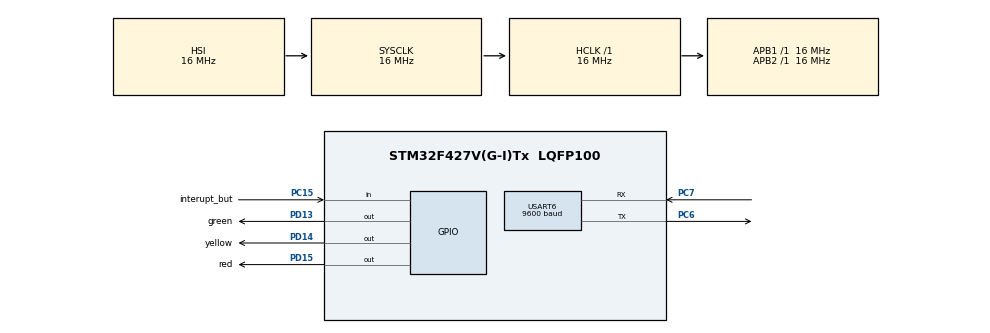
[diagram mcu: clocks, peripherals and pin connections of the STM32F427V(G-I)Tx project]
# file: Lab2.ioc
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Mcu.Family=STM32F4
Mcu.Name=STM32F427V(G-I)Tx
Mcu.Package=LQFP100
NVIC.PriorityGroup=NVIC_PRIORITYGROUP_4
NVIC.USART6_IRQn=true\:0\:0\:false\:false\:true\:true\:true\:true
PA13.Mode=JTAG_5_pins
PA13.Signal=SYS_JTMS-SWDIO
PA14.Mode=JTAG_5_pins
PA14.Signal=SYS_JTCK-SWCLK
PA15.Mode=JTAG_5_pins
PA15.Signal=SYS_JTDI
PB3.Mode=JTAG_5_pins
PB3.Signal=SYS_JTDO-SWO
PB4.Mode=JTAG_5_pins
PB4.Signal=SYS_JTRST
PC15/OSC32_OUT.GPIO_Label=interupt_but
PC15/OSC32_OUT.Signal=GPIO_Input
PC6.Mode=Asynchronous
PC6.Signal=USART6_TX
PC7.Mode=Asynchronous
PC7.Signal=USART6_RX
PD13.GPIO_Label=green
PD13.Signal=GPIO_Output
PD14.GPIO_Label=yellow
PD14.Signal=GPIO_Output
PD15.GPIO_Label=red
PD15.Signal=GPIO_Output
ProjectManager.HeapSize=0x200
ProjectManager.StackSize=0x400
ProjectManager.TargetToolchain=STM32CubeIDE
RCC.AHBFreq_Value=16000000
RCC.APB1Freq_Value=16000000
RCC.APB2Freq_Value=16000000
RCC.CortexFreq_Value=16000000
RCC.HSE_VALUE=25000000
RCC.HSI_VALUE=16000000
RCC.LSE_VALUE=32768
RCC.SYSCLKFreq_VALUE=16000000
RCC.VCOOutputFreq_Value=192000000
USART6.BaudRate=9600
USART6.VirtualMode=VM_ASYNC
board=custom

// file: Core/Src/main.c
/* USER CODE BEGIN Header */
/**
  ******************************************************************************
  * @file           : main.c
  * @brief          : Main program body - Кодовый замок через UART
  ******************************************************************************
  */
/* USER CODE END Header */
#include "main.h"
#include "usart.h"
#include "gpio.h"

/* USER CODE BEGIN Includes */
#include <string.h>
#include <ctype.h>
/* USER CODE END Includes */

/* USER CODE BEGIN PD */
#define CODE_LENGTH 8
#define MAX_ATTEMPTS 3
#define TIMEOUT_MS 10000
#define GREEN_LED_TIME 3000
#define RED_BLINK_TIME 5000
/* USER CODE END PD */

/* USER CODE BEGIN PV */
char current_code[CODE_LENGTH + 1] = "12345678";
char input_buffer[CODE_LENGTH + 1] = {0};
char new_code_buffer[CODE_LENGTH + 1] = {0};
uint8_t input_pos = 0;
uint8_t failed_attempts = 0;
uint32_t last_input_time = 0;
uint8_t setting_new_code = 0;
uint8_t new_code_pos = 0;
uint8_t use_interrupts = 0;
uint8_t rx_byte = 0;

volatile uint8_t char_received = 0;
volatile char received_char = 0;
/* USER CODE END PV */

void SystemClock_Config(void);
/* USER CODE BEGIN PFP */
void turn_on_green_led(void);
void turn_on_yellow_led(void);
void turn_on_red_led(void);
void turn_off_green_led(void);
void turn_off_yellow_led(void);
void turn_off_red_led(void);
void turn_off_all_leds(void);
void blink_led(GPIO_TypeDef* port, uint16_t pin, uint16_t duration);
void send_string(const char* str);
void reset_input(void);
void check_timeout(void);
void process_char(char c);
void lock_system(void);
void unlock_system(void);

/* Новая вспомогательная функция */
static void wait_ms(uint32_t ms);
/* USER CODE END PFP */

/* USER CODE BEGIN 0 */

static void wait_ms(uint32_t ms) {
    uint32_t start = HAL_GetTick();
    while ((HAL_GetTick() - start) < ms) {
        /* Ничего не делаем здесь намеренно - позволяем прерываниям срабатывать.
           __NOP() минимально загружает ЦПУ и полезна для отладки. */
        __NOP();
    }
}

void turn_on_green_led(void) {
    HAL_GPIO_WritePin(GPIOD, GPIO_PIN_13, GPIO_PIN_SET);
}

void turn_on_yellow_led(void) {
    HAL_GPIO_WritePin(GPIOD, GPIO_PIN_14, GPIO_PIN_SET);
}

void turn_on_red_led(void) {
    HAL_GPIO_WritePin(GPIOD, GPIO_PIN_15, GPIO_PIN_SET);
}

void turn_off_green_led(void) {
    HAL_GPIO_WritePin(GPIOD, GPIO_PIN_13, GPIO_PIN_RESET);
}

void turn_off_yellow_led(void) {
    HAL_GPIO_WritePin(GPIOD, GPIO_PIN_14, GPIO_PIN_RESET);
}

void turn_off_red_led(void) {
    HAL_GPIO_WritePin(GPIOD, GPIO_PIN_15, GPIO_PIN_RESET);
}

void turn_off_all_leds(void) {
    turn_off_green_led();
    turn_off_yellow_led();
    turn_off_red_led();
}

void blink_led(GPIO_TypeDef* port, uint16_t pin, uint16_t duration) {
    HAL_GPIO_WritePin(port, pin, GPIO_PIN_SET);
    wait_ms(duration);
    HAL_GPIO_WritePin(port, pin, GPIO_PIN_RESET);
}

void send_string(const char* str) {
    HAL_UART_Transmit(&huart6, (uint8_t*)str, strlen(str), 1000);
}

void reset_input(void) {
    input_pos = 0;
    memset(input_buffer, 0, sizeof(input_buffer));
    last_input_time = HAL_GetTick();
}

void check_timeout(void) {
    if (input_pos > 0 && (HAL_GetTick() - last_input_time > TIMEOUT_MS)) {
        send_string("Timeout! Code reset.\r\n");
        blink_led(GPIOD, GPIO_PIN_14, 1000);
        reset_input();
    }
}

void lock_system(void) {
    send_string("!!! LOCKED !!! Too many attempts.\r\n");
    uint32_t start = HAL_GetTick();
    while ((HAL_GetTick() - start) < RED_BLINK_TIME) {
        turn_on_red_led();
        wait_ms(250);
        turn_off_red_led();
        wait_ms(250);
    }
    failed_attempts = 0;
    reset_input();
    send_string("System ready. Enter code:\r\n");
}

void unlock_system(void) {
    send_string("\r\n*** UNLOCKED! ***\r\n");
    turn_on_green_led();
    wait_ms(GREEN_LED_TIME);
    turn_off_green_led();
    failed_attempts = 0;
    reset_input();
    send_string("System ready. Enter code:\r\n");
}

void process_char(char c) {
    if (setting_new_code == 1) {
        if (c == '\r' || c == '\n') {
            if (new_code_pos >= CODE_LENGTH) {
                send_string("\r\nNew code entered. Make it active? (y/n): ");
                setting_new_code = 2;
            } else {
                send_string("\r\nCode too short! Need 8 characters.\r\n");
                setting_new_code = 0;
                new_code_pos = 0;
                memset(new_code_buffer, 0, sizeof(new_code_buffer));
            }
            return;
        }

        if (isalnum((unsigned char)c) && new_code_pos < CODE_LENGTH) {
            new_code_buffer[new_code_pos++] = tolower((unsigned char)c);
            HAL_UART_Transmit(&huart6, (uint8_t*)"*", 1, 100);

            if (new_code_pos >= CODE_LENGTH) {
                send_string("\r\nNew code entered. Make it active? (y/n): ");
                setting_new_code = 2;
            }
        }
        return;
    }

    if (setting_new_code == 2) {
        if (c == 'y' || c == 'Y') {
            strcpy(current_code, new_code_buffer);
            send_string("\r\nNew code activated!\r\n");
            blink_led(GPIOD, GPIO_PIN_13, 500);
        } else {
            send_string("\r\nNew code cancelled.\r\n");
        }
        setting_new_code = 0;
        new_code_pos = 0;
        memset(new_code_buffer, 0, sizeof(new_code_buffer));
        reset_input();
        send_string("System ready. Enter code:\r\n");
        return;
    }

    if (c == '+') {
        send_string("\r\nEnter new code (8 chars): ");
        setting_new_code = 1;
        new_code_pos = 0;
        memset(new_code_buffer, 0, sizeof(new_code_buffer));
        return;
    }

    if (isalnum((unsigned char)c)) {
        c = tolower((unsigned char)c);
        input_buffer[input_pos] = c;
        last_input_time = HAL_GetTick();

        if (input_buffer[input_pos] == current_code[input_pos]) {
            blink_led(GPIOD, GPIO_PIN_14, 100);
            HAL_UART_Transmit(&huart6, (uint8_t*)&c, 1, 100);
            input_pos++;
            if (input_pos >= CODE_LENGTH) {
                unlock_system();
            }
        } else {
            send_string("\r\nWrong character!\r\n");
            blink_led(GPIOD, GPIO_PIN_15, 200);
            failed_attempts++;
            reset_input();

            if (failed_attempts >= MAX_ATTEMPTS) {
                lock_system();
            } else {
                send_string("Try again. Enter code:\r\n");
            }
        }
    }
}

void HAL_UART_RxCpltCallback(UART_HandleTypeDef *huart) {
    if (huart->Instance == USART6) {

        received_char = (char)rx_byte;
        char_received = 1;

        HAL_UART_Receive_IT(&huart6, &rx_byte, 1);
    }
}

/* USER CODE END 0 */

int main(void)
{
  /* USER CODE BEGIN 1 */
  uint8_t button_pressed = 0;
  /* USER CODE END 1 */

  /* MCU Configuration--------------------------------------------------------*/

  /* Reset of all peripherals, Initializes the Flash interface and the Systick. */
  HAL_Init();

  /* Configure the system clock */
  SystemClock_Config();

  /* Initialize all configured peripherals */
  MX_GPIO_Init();
  MX_USART6_UART_Init();
  /* USER CODE BEGIN 2 */

  turn_off_all_leds();

  HAL_NVIC_SetPriority(USART6_IRQn, 0, 0);
  HAL_NVIC_EnableIRQ(USART6_IRQn);

  send_string("\r\n");
  send_string("========================================\r\n");
  send_string("    CODE LOCK SYSTEM v2.0 (UART)\r\n");
  send_string("========================================\r\n");
  send_string("Mode: POLLING (press button to toggle)\r\n");
  send_string("System ready. Enter code:\r\n");

  reset_input();

  /* USER CODE END 2 */

  /* Infinite loop */
  while (1)
  {

    /* USER CODE BEGIN 3 */
      if (HAL_GPIO_ReadPin(GPIOC, GPIO_PIN_15) == GPIO_PIN_RESET && !button_pressed) {
          wait_ms(50);
          if (HAL_GPIO_ReadPin(GPIOC, GPIO_PIN_15) == GPIO_PIN_RESET) {
              button_pressed = 1;
              use_interrupts = !use_interrupts;

              if (use_interrupts) {
                  send_string("\r\n>>> Mode: INTERRUPTS <<<\r\n");
                  HAL_UART_Receive_IT(&huart6, &rx_byte, 1);
              } else {
                  send_string("\r\n>>> Mode: POLLING <<<\r\n");
                  HAL_UART_AbortReceive_IT(&huart6);
              }

              blink_led(GPIOD, GPIO_PIN_13, 200);
          }
      }

      if (HAL_GPIO_ReadPin(GPIOC, GPIO_PIN_15) == GPIO_PIN_SET) {
          button_pressed = 0;
      }

      if (!use_interrupts) {
          char c;
          if (HAL_OK == HAL_UART_Receive(&huart6, (uint8_t*)&c, 1, 10)) {
              process_char(c);
          }
      } else {
          if (char_received) {
              char_received = 0;
              process_char(received_char);
          }
      }

      check_timeout();

      wait_ms(10);
  }
  /* USER CODE END 3 */
}

void SystemClock_Config(void)
{
  RCC_OscInitTypeDef RCC_OscInitStruct = {0};
  RCC_ClkInitTypeDef RCC_ClkInitStruct = {0};

  /** Configure the main internal regulator output voltage
  */
  __HAL_RCC_PWR_CLK_ENABLE();
  __HAL_PWR_VOLTAGESCALING_CONFIG(PWR_REGULATOR_VOLTAGE_SCALE3);

  /** Initializes the RCC Oscillators according to the specified parameters
  * in the RCC_OscInitTypeDef structure.
  */
  RCC_OscInitStruct.OscillatorType = RCC_OSCILLATORTYPE_HSI;
  RCC_OscInitStruct.HSIState = RCC_HSI_ON;
  RCC_OscInitStruct.HSICalibrationValue = RCC_HSICALIBRATION_DEFAULT;
  RCC_OscInitStruct.PLL.PLLState = RCC_PLL_NONE;
  if (HAL_RCC_OscConfig(&RCC_OscInitStruct) != HAL_OK)
  {
    Error_Handler();
  }

  /** Initializes the CPU, AHB and APB buses clocks
  */
  RCC_ClkInitStruct.ClockType = RCC_CLOCKTYPE_HCLK|RCC_CLOCKTYPE_SYSCLK
                              |RCC_CLOCKTYPE_PCLK1|RCC_CLOCKTYPE_PCLK2;
  RCC_ClkInitStruct.SYSCLKSource = RCC_SYSCLKSOURCE_HSI;
  RCC_ClkInitStruct.AHBCLKDivider = RCC_SYSCLK_DIV1;
  RCC_ClkInitStruct.APB1CLKDivider = RCC_HCLK_DIV1;
  RCC_ClkInitStruct.APB2CLKDivider = RCC_HCLK_DIV1;

  if (HAL_RCC_ClockConfig(&RCC_ClkInitStruct, FLASH_LATENCY_0) != HAL_OK)
  {
    Error_Handler();
  }
}

void Error_Handler(void)
{
  __disable_irq();
  while (1)
  {
  }
}
